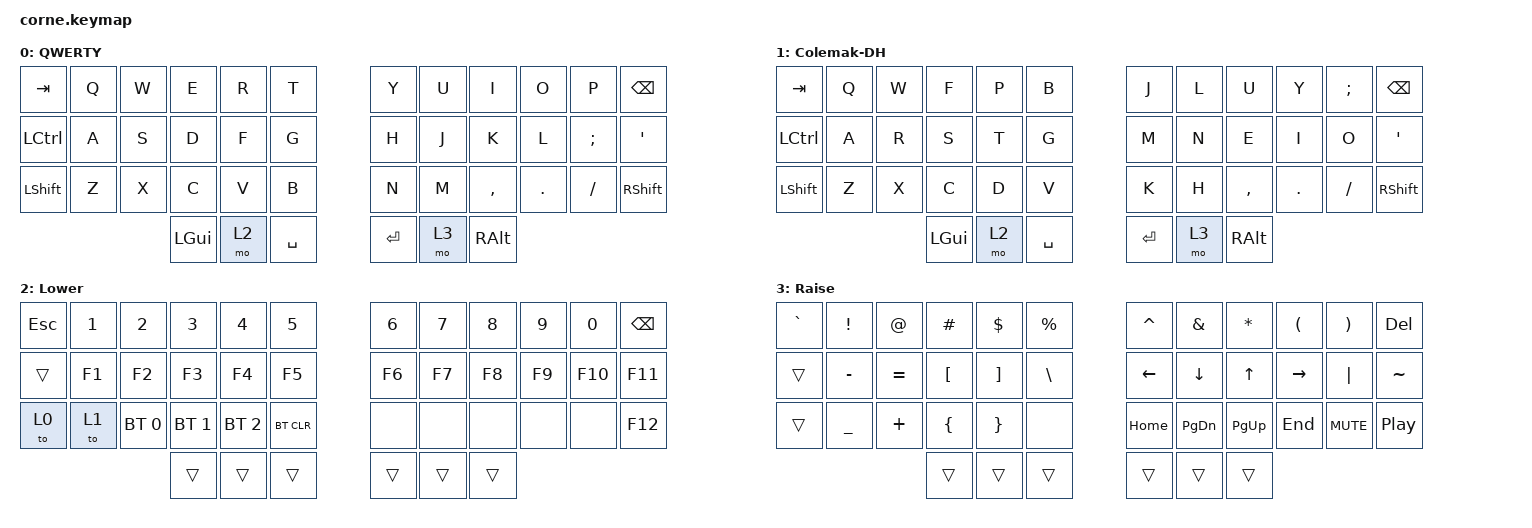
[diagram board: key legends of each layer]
#include <behaviors.dtsi>
#include <dt-bindings/zmk/keys.h>
#include <dt-bindings/zmk/bt.h>

/ {
    keymap {
        compatible = "zmk,keymap";

        qwerty {
            display-name = "QWERTY";
            bindings = <
                &kp TAB    &kp Q     &kp W     &kp E     &kp R     &kp T        &kp Y     &kp U     &kp I     &kp O     &kp P     &kp BSPC
                &kp LCTRL  &kp A     &kp S     &kp D     &kp F     &kp G        &kp H     &kp J     &kp K     &kp L     &kp SEMI  &kp SQT
                &kp LSHFT  &kp Z     &kp X     &kp C     &kp V     &kp B        &kp N     &kp M     &kp COMMA &kp DOT   &kp FSLH  &kp RSHFT
                                           &kp LGUI  &mo 2  &kp SPACE          &kp RET   &mo 3     &kp RALT
            >;
        };

        colemak_dh {
            display-name = "Colemak-DH";
            bindings = <
                &kp TAB    &kp Q     &kp W     &kp F     &kp P     &kp B        &kp J     &kp L     &kp U     &kp Y     &kp SEMI  &kp BSPC
                &kp LCTRL  &kp A     &kp R     &kp S     &kp T     &kp G        &kp M     &kp N     &kp E     &kp I     &kp O     &kp SQT
                &kp LSHFT  &kp Z     &kp X     &kp C     &kp D     &kp V        &kp K     &kp H     &kp COMMA &kp DOT   &kp FSLH  &kp RSHFT
                                           &kp LGUI  &mo 2  &kp SPACE          &kp RET   &mo 3     &kp RALT
            >;
        };

        lower {
            display-name = "Lower";
            bindings = <
                &kp ESC    &kp N1    &kp N2    &kp N3    &kp N4    &kp N5       &kp N6    &kp N7    &kp N8    &kp N9    &kp N0    &kp BSPC
                &trans     &kp F1    &kp F2    &kp F3    &kp F4    &kp F5       &kp F6    &kp F7    &kp F8    &kp F9    &kp F10   &kp F11
                &to 0      &to 1     &bt BT_SEL 0 &bt BT_SEL 1 &bt BT_SEL 2 &bt BT_CLR   &none &none &none &none &none &kp F12
                                           &trans    &trans    &trans           &trans    &trans    &trans
            >;
        };

        raise {
            display-name = "Raise";
            bindings = <
                &kp GRAVE  &kp EXCL  &kp AT    &kp HASH  &kp DLLR  &kp PRCNT    &kp CARET &kp AMPS  &kp STAR  &kp LPAR  &kp RPAR  &kp DEL
                &trans     &kp MINUS &kp EQUAL &kp LBKT  &kp RBKT  &kp BSLH     &kp LEFT  &kp DOWN  &kp UP    &kp RIGHT &kp PIPE  &kp TILDE
                &trans     &kp UNDER &kp PLUS  &kp LBRC  &kp RBRC  &none        &kp HOME  &kp PG_DN &kp PG_UP &kp END   &kp C_MUTE &kp C_PP
                                           &trans    &trans    &trans           &trans    &trans    &trans
            >;
        };
    };
};
